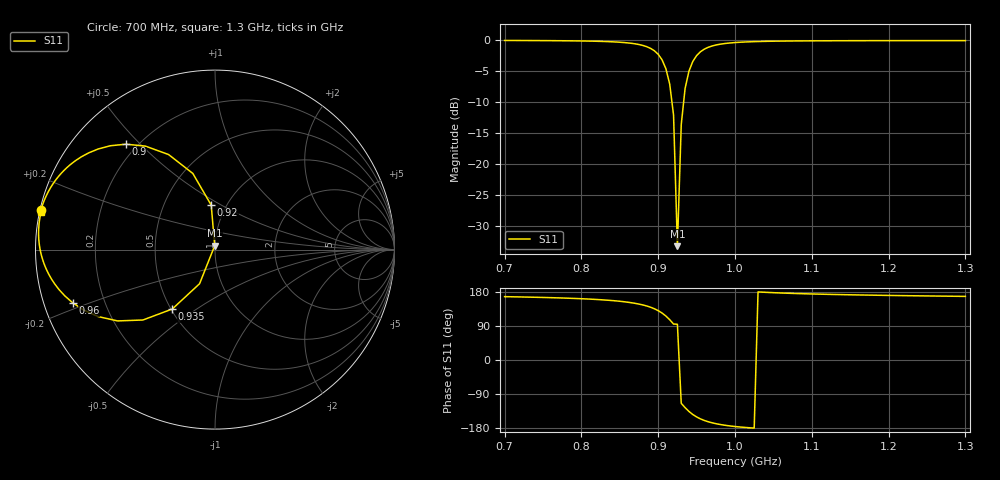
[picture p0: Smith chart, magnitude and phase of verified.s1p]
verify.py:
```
# verify.py
# Re-run the optimised PIFA simulation to verify results.
# Saves plots and data for the report.

from pathlib import Path
import numpy as np
import emerge as em
import matplotlib
matplotlib.use('Agg')
import matplotlib.pyplot as plt

mm = 0.001
C0 = 299_792_458.0

F_BAND_LO = 915e6
F_BAND_HI = 928e6
F_TARGET = 925e6
F_CENTER = 0.5 * (F_BAND_LO + F_BAND_HI)

outdir = Path("out")
outdir.mkdir(exist_ok=True)
reportdir = Path("report")
reportdir.mkdir(exist_ok=True)

# Optimised parameters from optimise_915.py
best_pL = 34.42
best_pW = 26.00
best_sW = 12.00
best_fo = 7.00

print("Verification run with optimised parameters:")
print(f"  patch_length: {best_pL:.2f} mm")
print(f"  patch_width:  {best_pW:.2f} mm")
print(f"  short_span:   {best_sW:.2f} mm")
print(f"  feed_offset:  {best_fo:.2f} mm")
print()


def set_best_solver(sim):
    for solver, name in [
        (em.EMSolver.MUMPS, "MUMPS"),
        (em.EMSolver.UMFPACK, "UMFPACK"),
    ]:
        try:
            sim.mw.set_solver(solver)
            print(f"  Solver: {name}")
            return
        except Exception:
            pass
    print("  Solver: SuperLU (default)")


def build_full_model(
    sim,
    L_mm=100.0, W_mm=80.0,
    patch_length_mm=45.0, patch_width_mm=25.0,
    patch_margin_x_mm=5.0, patch_margin_y_mm=5.0,
    short_span_mm=12.0, n_short_vias=6, via_pad_mm=0.6,
    feed_offset_mm=6.0, feed_trace_w_mm=1.5,
    f0=915e6, margin_lambda=0.25,
):
    L = L_mm * mm
    W = W_mm * mm
    patch_length = patch_length_mm * mm
    patch_width = patch_width_mm * mm
    patch_margin_x = patch_margin_x_mm * mm
    patch_margin_y = patch_margin_y_mm * mm
    short_span = short_span_mm * mm
    via_pad = via_pad_mm * mm
    feed_offset = feed_offset_mm * mm
    feed_trace_w = feed_trace_w_mm * mm
    pcb_thickness = 1.6 * mm
    copper_thick = 0.035 * mm

    patch_x0 = patch_margin_x
    patch_y1 = W - patch_margin_y
    patch_y0 = patch_y1 - patch_width
    patch_y_center = 0.5 * (patch_y0 + patch_y1)
    short_y0 = patch_y_center - short_span / 2.0

    substrate = em.geo.Box(L, W, pcb_thickness, position=(0, 0, -pcb_thickness))
    substrate.set_material(em.Material(er=4.4, tand=0.02, color="#2d8c2d", opacity=0.6))

    bottom_gnd = em.geo.XYPlate(L, W, position=(0, 0, -pcb_thickness))
    bottom_gnd.set_material(em.lib.PEC)

    patch_box = em.geo.Box(
        patch_length, patch_width, copper_thick,
        position=(patch_x0, patch_y0, 0)
    )
    if n_short_vias == 1:
        via_centres_y = np.array([short_y0 + short_span / 2.0])
    else:
        via_centres_y = np.linspace(
            short_y0 + via_pad / 2.0,
            short_y0 + short_span - via_pad / 2.0,
            n_short_vias,
        )
    via_height = pcb_thickness + 2 * copper_thick
    patch = patch_box
    for y_c in via_centres_y:
        via = em.geo.Box(
            via_pad, via_pad, via_height,
            position=(patch_x0, float(y_c) - via_pad / 2.0,
                      -pcb_thickness - copper_thick),
        )
        patch = em.geo.unite(patch, via)
    patch.set_material(em.lib.MET_COPPER)

    feed_x = patch_x0 + feed_offset
    port_face = em.geo.Plate(
        np.array([feed_x, patch_y_center - feed_trace_w / 2.0, -pcb_thickness]),
        np.array([0.0, feed_trace_w, 0.0]),
        np.array([0.0, 0.0, pcb_thickness])
    )

    lam = C0 / f0
    m = margin_lambda * lam
    air = em.geo.Box(
        L + 2 * m, W + 2 * m, pcb_thickness + 2 * m,
        position=(-m, -m, -pcb_thickness - m)
    )
    air.background()

    sim.commit_geometry()
    sim.generate_mesh()

    sim.mw.bc.AbsorbingBoundary(air.boundary(), order=2, abctype='B')
    sim.mw.bc.LumpedPort(
        port_face, 1,
        width=feed_trace_w, height=pcb_thickness,
        direction=em.ZAX, Z0=50.0
    )

    return {
        "air": air, "port_face": port_face, "patch": patch,
        "L": L, "W": W,
        "patch_length": patch_length, "patch_width": patch_width,
        "short_span": short_span, "feed_offset": feed_offset,
    }


# --- Run simulation ---
sim = em.Simulation("PIFAVerify", loglevel="INFO")
set_best_solver(sim)
sim.mw.set_frequency_range(700e6, 1300e6, 121)
sim.mw.set_resolution(0.25)

meta = build_full_model(
    sim,
    patch_length_mm=best_pL,
    patch_width_mm=best_pW,
    short_span_mm=best_sW,
    feed_offset_mm=best_fo,
)

data = sim.mw.run_sweep(parallel=True)
grid = data.scalar.grid
freqs_flat = np.array(grid.freq).flatten()
s11_flat = np.array(grid.S(1, 1)).flatten()
s11_dB = 20.0 * np.log10(np.abs(s11_flat))

# --- Results ---
idx_best = int(np.argmin(s11_dB))
res_freq_mhz = freqs_flat[idx_best] / 1e6

ism_freqs = np.linspace(F_BAND_LO, F_BAND_HI, 27)
s11_ism = grid.model_S(1, 1, ism_freqs)
s11_ism_dB = 20.0 * np.log10(np.abs(s11_ism))
ism_worst = float(np.max(s11_ism_dB))
ism_worst_mhz = float(ism_freqs[int(np.argmax(s11_ism_dB))] / 1e6)
ism_best = float(np.min(s11_ism_dB))
ism_best_mhz = float(ism_freqs[int(np.argmin(s11_ism_dB))] / 1e6)

below_10 = s11_dB <= -10.0
if np.any(below_10):
    below_idx = np.where(below_10)[0]
    bw_lo_mhz = freqs_flat[below_idx[0]] / 1e6
    bw_hi_mhz = freqs_flat[below_idx[-1]] / 1e6
    bw_10 = bw_hi_mhz - bw_lo_mhz
else:
    bw_lo_mhz = bw_hi_mhz = bw_10 = float('nan')

idx_925 = int(np.argmin(np.abs(freqs_flat - 925e6)))
s11_at_925 = s11_dB[idx_925]

# VSWR
vswr = (1 + np.abs(s11_flat)) / (1 - np.abs(s11_flat))

in_band = (F_BAND_LO / 1e6) <= res_freq_mhz <= (F_BAND_HI / 1e6)
matched = ism_worst <= -10.0
status = "PASS" if (in_band and matched) else "FAIL"

print("\nResults:")
print(f"  Resonance:         {res_freq_mhz:.1f} MHz ({s11_dB[idx_best]:+.2f} dB)")
print(f"  S11 @ 925 MHz:     {s11_at_925:+.2f} dB")
print(f"  -10 dB bandwidth:  {bw_lo_mhz:.0f} - {bw_hi_mhz:.0f} MHz ({bw_10:.0f} MHz)")
print(f"  ISM worst S11:     {ism_worst:+.2f} dB @ {ism_worst_mhz:.0f} MHz")
print(f"  ISM best S11:      {ism_best:+.2f} dB @ {ism_best_mhz:.0f} MHz")
print(f"  Spec:              {status}")

# --- Dense interpolation for smooth plots ---
freq_dense = np.linspace(700e6, 1300e6, 1001)
try:
    s11_dense = grid.model_S(1, 1, freq_dense)
except Exception:
    s11_dense = s11_flat
    freq_dense = freqs_flat

s11_dense_dB = 20.0 * np.log10(np.abs(s11_dense))
vswr_dense = (1 + np.abs(s11_dense)) / (1 - np.abs(s11_dense))

# --- S11 Plot ---
fig, ax = plt.subplots(figsize=(10, 5))
ax.plot(freq_dense / 1e6, s11_dense_dB, 'b-', linewidth=1.5, label='S11')
ax.axhline(-10, color='r', linestyle='--', alpha=0.7, label='-10 dB threshold')
ax.axvspan(915, 928, alpha=0.15, color='green', label='AU925 band (915-928 MHz)')
ax.axvline(res_freq_mhz, color='orange', linestyle=':', alpha=0.7,
           label=f'Resonance ({res_freq_mhz:.1f} MHz)')
ax.set_xlabel('Frequency (MHz)', fontsize=12)
ax.set_ylabel('S11 (dB)', fontsize=12)
ax.set_title('PIFA 925 MHz - S11 Return Loss', fontsize=14)
ax.set_xlim(700, 1300)
ax.set_ylim(-40, 0)
ax.legend(loc='lower right')
ax.grid(True, alpha=0.3)
fig.tight_layout()
fig.savefig(reportdir / 's11_plot.png', dpi=150)
print(f"  Saved {reportdir / 's11_plot.png'}")

# --- VSWR Plot ---
fig2, ax2 = plt.subplots(figsize=(10, 5))
ax2.plot(freq_dense / 1e6, vswr_dense, 'b-', linewidth=1.5, label='VSWR')
ax2.axhline(2.0, color='r', linestyle='--', alpha=0.7, label='VSWR 2:1')
ax2.axhline(3.0, color='orange', linestyle='--', alpha=0.5, label='VSWR 3:1')
ax2.axvspan(915, 928, alpha=0.15, color='green', label='AU925 band')
ax2.set_xlabel('Frequency (MHz)', fontsize=12)
ax2.set_ylabel('VSWR', fontsize=12)
ax2.set_title('PIFA 925 MHz - VSWR', fontsize=14)
ax2.set_xlim(700, 1300)
ax2.set_ylim(1, 10)
ax2.legend(loc='upper right')
ax2.grid(True, alpha=0.3)
fig2.tight_layout()
fig2.savefig(reportdir / 'vswr_plot.png', dpi=150)
print(f"  Saved {reportdir / 'vswr_plot.png'}")

# --- Smith Chart (scikit-rf) ---
import skrf as rf

freq_obj = rf.Frequency.from_f(freqs_flat, unit='Hz')
s_data = s11_flat.reshape(-1, 1, 1)
ntwk = rf.Network(frequency=freq_obj, s=s_data, name='PIFA 925 MHz')

fig3, ax3 = plt.subplots(figsize=(8, 8))
ntwk.plot_s_smith(m=0, n=0, ax=ax3, color='b', linewidth=1.5, label='S11')

# Overlay ISM band in red
ism_idx = (freqs_flat >= F_BAND_LO) & (freqs_flat <= F_BAND_HI)
gamma_ism = s11_flat[ism_idx]
ax3.plot(np.real(gamma_ism), np.imag(gamma_ism),
         'r-', linewidth=3, label='AU925 band', zorder=6)

# Mark 925 MHz
s11_925_pt = grid.model_S(1, 1, np.array([925e6]))[0]
ax3.plot(np.real(s11_925_pt), np.imag(s11_925_pt), 'go', markersize=10,
         label='925 MHz', zorder=7)

ax3.set_title('Smith Chart - PIFA 925 MHz', fontsize=14)
ax3.legend(loc='upper right', fontsize=10)
fig3.tight_layout()
fig3.savefig(reportdir / 'smith_chart.png', dpi=150)
print(f"  Saved {reportdir / 'smith_chart.png'}")

# --- Schematic (schemdraw) ---
import schemdraw
import schemdraw.elements as elm

with schemdraw.Drawing(show=False) as d:
    d.config(fontsize=14)
    # SMA connector
    d += (sma := elm.Coax().right().label('J1\nSMA', loc='bottom'))
    # Series inductor
    d += elm.Line().right().length(1)
    d += (l1 := elm.Inductor().right().label('L1', loc='top'))
    # Node for shunt cap C1
    d += (node1 := elm.Dot())
    # Shunt cap C1 to GND
    d += elm.Line().down().length(0.5).at(node1.end)
    d += elm.Capacitor().down().label('C1', loc='left')
    d += elm.Ground()
    # Continue to shunt cap C2
    d += elm.Line().right().length(2).at(node1.end)
    d += (node2 := elm.Dot())
    # Shunt cap C2 to GND
    d += elm.Line().down().length(0.5).at(node2.end)
    d += elm.Capacitor().down().label('C2', loc='left')
    d += elm.Ground()
    # Antenna
    d += elm.Line().right().length(1).at(node2.end)
    d += elm.Antenna().right().label('AE1\nPIFA', loc='bottom')

    d.save(str(reportdir / 'schematic.png'), dpi=150)
print(f"  Saved {reportdir / 'schematic.png'}")

# --- Save Touchstone ---
with open(reportdir / 'verified.s1p', 'w') as f:
    f.write("! EMerge PIFA Verification - AU925 (915-928 MHz)\n")
    f.write(f"! patch_length={best_pL:.2f}mm, patch_width={best_pW:.2f}mm, "
            f"short_span={best_sW:.2f}mm, feed_offset={best_fo:.2f}mm\n")
    f.write("# MHZ S RI R 50.0\n")
    for i in range(len(freqs_flat)):
        f.write(f"{freqs_flat[i]/1e6:.6f} "
                f"{np.real(s11_flat[i]):.8f} {np.imag(s11_flat[i]):.8f}\n")
print(f"  Saved {reportdir / 'verified.s1p'}")

print("\nDone.")
```
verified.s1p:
! EMerge PIFA Verification - AU925 (915-928 MHz)
! patch_length=34.42mm, patch_width=26.00mm, short_span=12.00mm, feed_offset=7.00mm
# MHZ S RI R 50.0
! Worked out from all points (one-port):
!   121 points, 700 MHz to 1.3 GHz, reference 50 ohm
!   lowest |S11| = -33.2 dB at 925 MHz (marker M1), VSWR 1.04, Z = 49.8 + j2.17 ohm
!   |S11| at or under -10 dB: 917.9 MHz to 933.1 MHz (15.2 MHz wide, 1.64 % of centre)
!   S11 on the Smith chart (normalised r, x): 700 MHz: 0.00, +0.11; 900 MHz: 0.16, +0.45; 920 MHz: 0.85, +0.45; 935 MHz: 0.51, -0.40; 960 MHz: 0.09, -0.18; 1.3 GHz: 0.00, +0.11
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700  -0.97 0.2207
850  -0.8723 0.4071
880  -0.7453 0.5165
900  -0.4966 0.5873
910  -0.2584 0.5295
920  -0.0211 0.2476
925  -0.00163 0.0217
930  -0.0859 -0.1901
935  -0.238 -0.331
945  -0.5426 -0.3974
960  -0.7928 -0.2964
1010  -0.964 -0.0433
1100  -0.9828 0.0986
1300  -0.9696 0.2085
